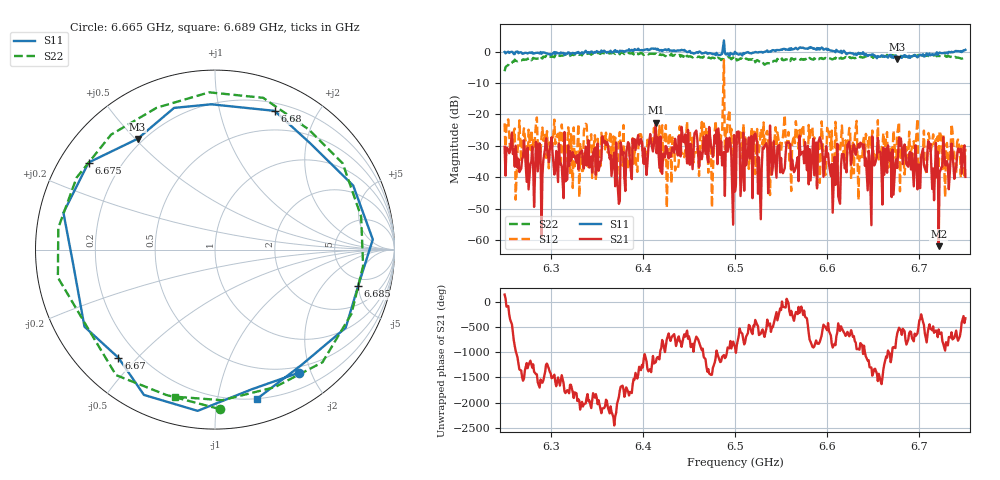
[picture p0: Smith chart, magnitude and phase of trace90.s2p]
# Hz S RI R 50
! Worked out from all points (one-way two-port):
!   401 points, 6.25 GHz to 6.75 GHz, reference 50 ohm
!   highest |S21| = -22.67 dB at 6.414 GHz (marker M1); lowest = -62.0 dB at 6.721 GHz (marker M2)
!   lowest |S11| = -2.5 dB at 6.676 GHz (marker M3), VSWR 7.10, Z = 8.91 + j25.4 ohm
!   |S11| at or under -10 dB: nowhere
!   |S22| runs from -6.2 to -0.1 dB; largest |S21 - S12| = 0.72
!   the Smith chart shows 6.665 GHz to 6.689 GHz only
!   S11 on the Smith chart (normalised r, x): 6.665 GHz: 0.41, -1.82; 6.67 GHz: 0.13, -0.44; 6.675 GHz: 0.09, +0.31; 6.68 GHz: 0.28, +1.48; 6.685 GHz: 3.92, -4.94; 6.689 GHz: 0.20, -1.30
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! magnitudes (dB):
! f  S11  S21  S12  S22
! 6.25 GHz  -0.1  -30.3  -22.8  -6.2
! 6.334 GHz  -0.2  -31.5  -38.0  -1.2
! 6.359 GHz  0.1  -28.4  -31.1  -0.6
! 6.372 GHz  0.2  -39.6  -42.1  -0.4
! 6.414 GHz  1.0  -22.7  -25.9  -0.6
! 6.418 GHz  0.3  -37.0  -23.6  -1.0
! 6.466 GHz  -0.5  -27.1  -22.8  -1.6
! 6.474 GHz  -0.5  -30.1  -31.2  -2.2
! 6.49 GHz  -0.9  -30.0  -25.3  -2.5
! 6.5 GHz  0.0  -44.6  -40.3  -2.0
! 6.584 GHz  1.1  -31.7  -24.0  -2.5
! 6.665 GHz  -1.6  -38.6  -25.6  -1.0
! 6.668 GHz  -0.9  -34.7  -36.3  -1.0
! 6.67 GHz  -1.9  -46.3  -33.7  -1.0
! 6.675 GHz  -1.4  -34.3  -35.6  -1.4
! 6.676 GHz  -2.5  -37.1  -26.2  -1.1
! 6.68 GHz  -1.5  -27.7  -31.5  -1.3
! 6.685 GHz  -1.7  -31.8  -35.2  -1.2
! 6.689 GHz  -1.3  -32.6  -25.5  -1.4
! 6.71 GHz  -1.1  -28.6  -25.9  -1.4
! 6.721 GHz  -0.5  -62.0  -37.2  -1.4
! 6.75 GHz  0.6  -39.9  -30.9  -2.2
